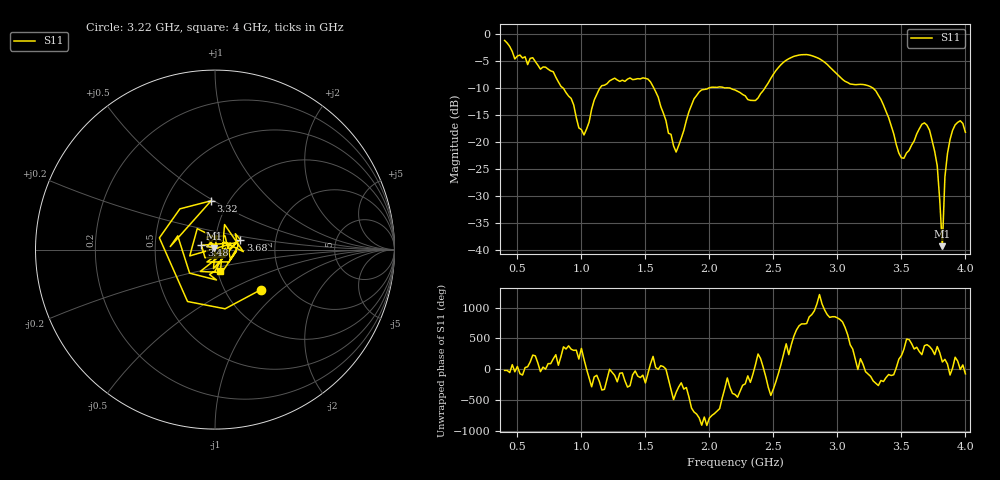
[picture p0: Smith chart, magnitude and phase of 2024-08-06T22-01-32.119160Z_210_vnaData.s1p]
!Created with skrf (http://scikit-rf.org).
# Hz S RI R 50.0
!freq ReS11 ImS11
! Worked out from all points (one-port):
!   181 points, 400 MHz to 4 GHz, reference 50 ohm
!   lowest |S11| = -39.3 dB at 3.82 GHz (marker M1), VSWR 1.02, Z = 49.5 + j0.961 ohm
!   |S11| at or under -10 dB: 859.4 MHz to 1.144 GHz (284.3 MHz wide, 28.4 % of centre); 1.567 GHz to 1.99 GHz (423.5 MHz wide, 23.8 % of centre); 3.28 GHz to end of sweep (the widest 3 of 4)
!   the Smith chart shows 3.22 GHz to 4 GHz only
!   S11 on the Smith chart (normalised r, x): 3.22 GHz: 1.47, -0.74; 3.32 GHz: 0.83, +0.49; 3.48 GHz: 0.86, +0.04; 3.68 GHz: 1.32, +0.15; 4 GHz: 1.03, -0.25
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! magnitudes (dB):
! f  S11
! 400 MHz  -1.1
! 480 MHz  -4.6
! 620 MHz  -4.3
! 860 MHz  -10.0
! 1.02 GHz  -18.6
! 1.14 GHz  -10.1
! 1.3 GHz  -8.7
! 1.52 GHz  -8.3
! 1.74 GHz  -21.8
! 1.76 GHz  -20.6
! 1.92 GHz  -10.7
! 2.2 GHz  -10.3
! 2.36 GHz  -12.3
! 2.66 GHz  -4.1
! 2.86 GHz  -4.5
! 3.1 GHz  -9.2
! 3.22 GHz  -9.4
! 3.32 GHz  -11.3
! 3.48 GHz  -22.0
! 3.56 GHz  -21.5
! 3.68 GHz  -16.4
! 3.72 GHz  -17.8
! 3.78 GHz  -24.3
! 3.82 GHz  -39.3
! 3.84 GHz  -26.4
! 3.88 GHz  -19.5
! 3.96 GHz  -16.0
! 4 GHz  -18.1
